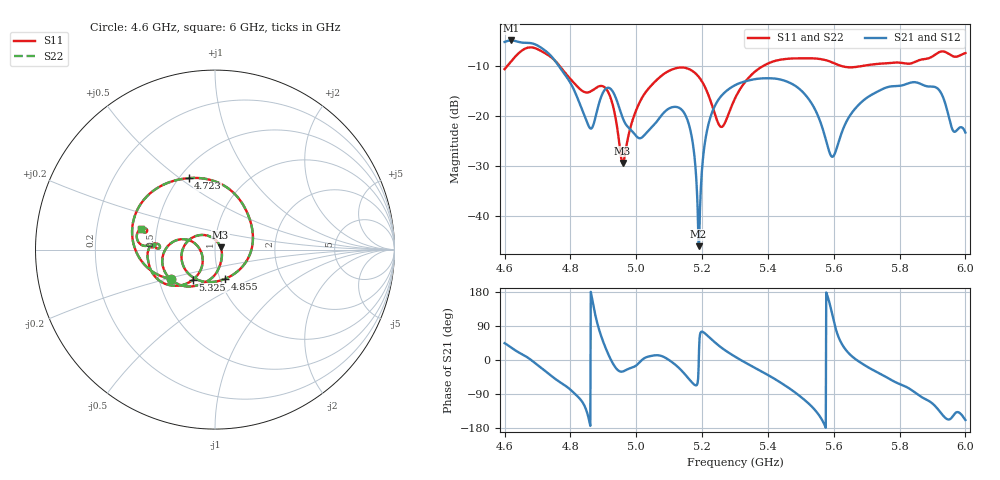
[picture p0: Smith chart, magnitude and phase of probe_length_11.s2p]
! TOUCHSTONE file generated by CST MICROWAVE STUDIO
! Date and time: Sat Nov 30 13:12:01 2024
! Project name: test_tuning.cst
! Parameters = {airCoaxOuterDiameter=3; chamferAngle=45; chamferWidth=24; connectorLength=10; drillingHoleDiameter=4.1; feedLength=60; flareDiameter=130; flareLength=70; gratingDistance=0; gratingGap=1.90274; outletLength=30; polarizerLength=134; probe1Diameter=1.3; probe1Distance=14; probe1Length=1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
! Header version: 2024
! Port assignment regex: !\s*Touchstone port\s*([0-9]+)\s*=\s*(CST MWS port|CST DES external port|CST DES block port)\s*(.+)\s* \(\"(.*)\"\)(\s*mode\s*([0-9]+))?.*
! Touchstone port assignment:
! Touchstone port 1 = CST MWS port 1 ("Input1")
! Touchstone port 2 = CST MWS port 2 ("Input2")
# GHz S MA R 50
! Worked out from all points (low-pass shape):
!   1001 points, 4.6 GHz to 6 GHz, reference 50 ohm
!   highest |S21| = -4.87 dB at 4.62 GHz (marker M1); lowest = -46.1 dB at 5.189 GHz (marker M2)
!   |S21| within 3 dB of the highest: start of sweep to 4.74 GHz
!   lowest |S11| = -29.5 dB at 4.958 GHz (marker M3), VSWR 1.07, Z = 53.1 + j1.46 ohm
!   |S11| at or under -10 dB: start of sweep to 4.60812 GHz; 4.767 GHz to 5.385 GHz (617.9 MHz wide, 12.2 % of centre); 5.623 GHz to 5.686 GHz (62.27 MHz wide, 1.1 % of centre)
!   |S22| runs from -29.5 to -6.3 dB; largest |S21 - S12| = 1.1e-06
!   S11 on the Smith chart (normalised r, x): 4.6 GHz: 0.58, -0.21; 4.723 GHz: 0.56, +0.54; 4.855 GHz: 1.06, -0.36; 5.325 GHz: 0.74, -0.26; 6 GHz: 0.41, +0.11
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4.6  0.2946 -146.4  0.5512 44.4  0.5512 44.4  0.2946 -146.4
4.6196  0.3514 -156.9  0.5706 33.1  0.5706 33.1  0.3514 -156.9
4.6686  0.481 161.8  0.5399 7.4  0.5399 7.4  0.481 161.8
4.7232  0.4246 110.3  0.4515 -28.9  0.4515 -28.9  0.4246 110.3
4.8338  0.1801 -31.2  0.1192 -107.9  0.1192 -107.9  0.1801 -31.2
4.8548  0.1724 -70.9  0.07972 -152.0  0.07972 -152.0  0.1724 -70.9
4.915  0.1724 173.0  0.1915 15.2  0.1915 15.2  0.1724 173.0
4.9584  0.03363 24.1  0.09622 -30.5  0.09622 -30.5  0.03363 24.1
5.0102  0.1367 -89.0  0.05964 -6.0  0.05964 -6.0  0.1367 -89.0
5.0676  0.2381 -120.9  0.0924 12.4  0.0924 12.4  0.2381 -120.9
5.1516  0.3016 -166.9  0.09811 -41.4  0.09811 -41.4  0.3016 -166.9
5.1726  0.2793 -179.1  0.05097 -62.1  0.05097 -62.1  0.2793 -179.1
5.1894  0.2474 171.6  0.004935 -20.1  0.004935 -20.1  0.2474 171.6
5.2244  0.1455 160.2  0.09481 57.9  0.09481 57.9  0.1455 160.2
5.2594  0.07748 -161.5  0.1599 32.1  0.1599 32.1  0.07748 -161.5
5.3  0.1497 -124.5  0.203 8.9  0.203 8.9  0.1497 -124.5
5.3252  0.207 -126.1  0.2192 -3.9  0.2192 -3.9  0.207 -126.1
5.5338  0.3775 -174.9  0.1318 -123.3  0.1318 -123.3  0.3775 -174.9
5.5968  0.3421 174.7  0.03891 114.6  0.03891 114.6  0.3421 174.7
5.7676  0.3379 176.5  0.1957 -49.3  0.1957 -49.3  0.3379 176.5
5.9118  0.42 175.5  0.1919 -125.1  0.1919 -125.1  0.42 175.5
6  0.4258 164.4  0.06802 -158.4  0.06802 -158.4  0.4258 164.4
